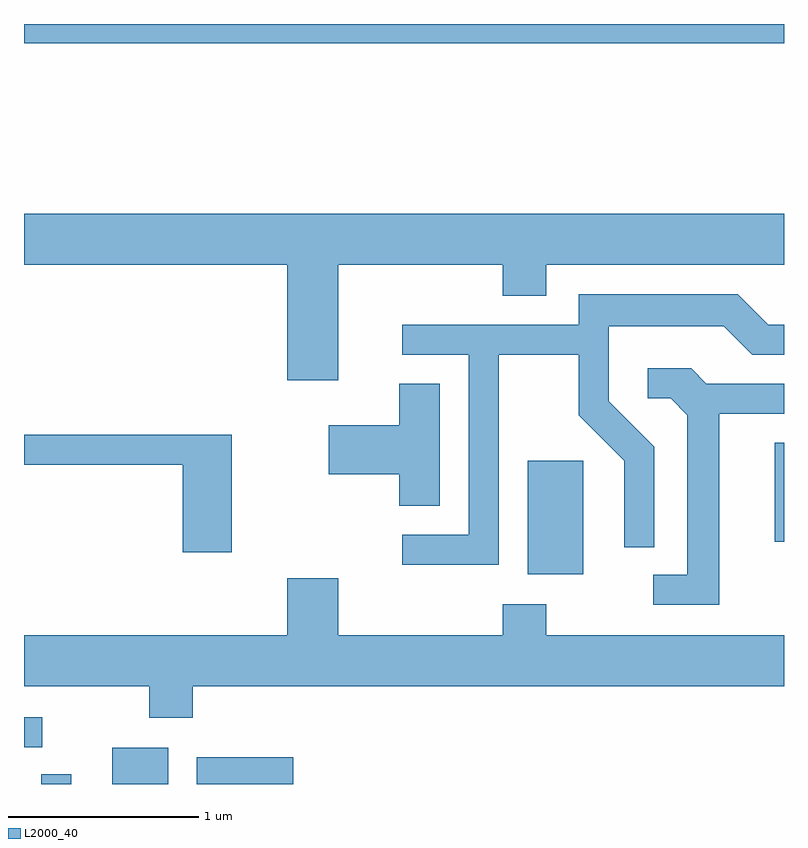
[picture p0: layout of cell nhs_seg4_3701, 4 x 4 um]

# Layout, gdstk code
import gdstk
lib = gdstk.Library(unit=1e-6, precision=1e-09)
def R(c, l, rs):  # rectangles x0, y0, x1, y1
    for r in rs: c.add(gdstk.rectangle(r[:2], r[2:], *l))
def P(c, l, *ps):  # polygons
    for p in ps: c.add(gdstk.Polygon(p, *l))
L2000_40 = (2000, 40)

nhs_seg4_3701 = lib.new_cell('nhs_seg4_3701')
R(nhs_seg4_3701, L2000_40, [(293.701,1311.982,293.859,1312.033), (294.076,1311.982,294.369,1312.174), (294.521,1311.982,295.028,1312.124), (293.611,1312.176,293.708,1312.334), (296.261,1313.086,296.554,1313.684), (297.561,1313.256,297.611,1313.779), (293.611,1315.881,297.611,1315.982)])
P(nhs_seg4_3701, L2000_40, [(295.264,1314.716),(296.131,1314.716),(296.131,1314.551),(296.359,1314.551),(296.359,1314.716),(297.611,1314.716),(297.611,1314.984),(293.611,1314.984),(293.611,1314.716),(294.996,1314.716),(294.996,1314.106),(295.264,1314.106)],
  [(296.109,1314.241),(296.531,1314.241),(296.531,1313.924),(296.771,1313.684),(296.771,1313.228),(296.929,1313.228),(296.929,1313.757),(296.689,1313.997),(296.689,1314.391),(297.294,1314.391),(297.444,1314.241),(297.611,1314.241),(297.611,1314.399),(297.527,1314.399),(297.367,1314.559),(296.531,1314.559),(296.531,1314.399),(295.603,1314.399),(295.603,1314.241),(295.951,1314.241),(295.951,1313.294),(295.603,1313.294),(295.603,1313.136),(296.109,1313.136)],
  [(297.269,1313.931),(297.611,1313.931),(297.611,1314.089),(297.202,1314.089),(297.122,1314.169),(296.893,1314.169),(296.893,1314.011),(297.014,1314.011),(297.101,1313.924),(297.101,1313.084),(296.923,1313.084),(296.923,1312.926),(297.269,1312.926)],
  [(295.799,1314.089),(295.586,1314.089),(295.586,1313.869),(295.216,1313.869),(295.216,1313.611),(295.586,1313.611),(295.586,1313.446),(295.799,1313.446)],
  [(294.704,1313.819),(293.611,1313.819),(293.611,1313.661),(294.446,1313.661),(294.446,1313.201),(294.704,1313.201)],
  [(294.499,1312.496),(297.611,1312.496),(297.611,1312.764),(296.359,1312.764),(296.359,1312.929),(296.131,1312.929),(296.131,1312.764),(295.264,1312.764),(295.264,1313.064),(294.996,1313.064),(294.996,1312.764),(293.611,1312.764),(293.611,1312.496),(294.271,1312.496),(294.271,1312.331),(294.499,1312.331)])

lib.write_gds('nhs_seg4_3701.gds')
